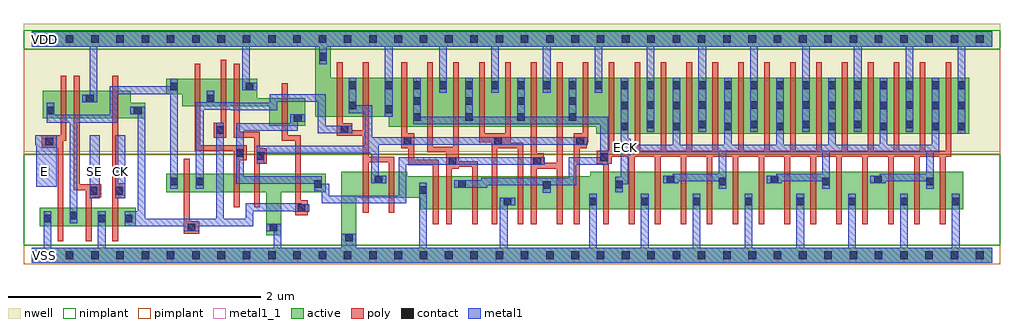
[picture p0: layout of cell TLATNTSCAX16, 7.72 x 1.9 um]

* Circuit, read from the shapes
.subckt TLATNTSCAX16 CK E ECK SE VDD VSS
M1 n1 E VSS VSS nfet w=0.145u l=0.045u
M2 VSS SE n1 VSS nfet w=0.145u l=0.045u
M3 n2 CK VSS VSS nfet w=0.145u l=0.045u
M4 n3 n2 n1 VSS nfet w=0.145u l=0.045u
M5 n4 n5 n3 VSS nfet w=0.145u l=0.045u
M6 VSS n6 n4 VSS nfet w=0.145u l=0.045u
M7 n5 n2 VSS VSS nfet w=0.145u l=0.045u
M8 n6 n3 VSS VSS nfet w=0.205u l=0.045u m=2
M9 n7 n6 VSS VSS nfet w=0.26u l=0.045u
M10 n8 n5 n7 VSS nfet w=0.26u l=0.045u
M11 n9 n5 n8 VSS nfet w=0.26u l=0.045u
M12 VSS n6 n9 VSS nfet w=0.26u l=0.045u
M13 n10 n6 VSS VSS nfet w=0.26u l=0.045u
M14 n8 n5 n10 VSS nfet w=0.26u l=0.045u
M15 n11 n5 n8 VSS nfet w=0.26u l=0.045u
M16 VSS n6 n11 VSS nfet w=0.26u l=0.045u
M17 ECK n8 VSS VSS nfet w=0.295u l=0.045u m=14
M18 n12 E n1 VDD pfet w=0.215u l=0.045u
M19 VDD SE n12 VDD pfet w=0.215u l=0.045u
M20 n2 CK VDD VDD pfet w=0.215u l=0.045u
M21 n3 n5 n1 VDD pfet w=0.215u l=0.045u
M22 n13 n2 n3 VDD pfet w=0.215u l=0.045u
M23 VDD n6 n13 VDD pfet w=0.215u l=0.045u
M24 n5 n2 VDD VDD pfet w=0.215u l=0.045u
M25 n6 n3 VDD VDD pfet w=0.31u l=0.045u m=2
M26 n8 n6 VDD VDD pfet w=0.39u l=0.045u m=4
M27 VDD n5 n8 VDD pfet w=0.39u l=0.045u m=4
M28 ECK n8 VDD VDD pfet w=0.445u l=0.045u m=14
.ends

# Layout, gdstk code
import gdstk
lib = gdstk.Library(unit=1e-6, precision=5e-10)
def R(c, l, rs):  # rectangles x0, y0, x1, y1
    for r in rs: c.add(gdstk.rectangle(r[:2], r[2:], *l))
def A(c, l, x, y, w, h, nx, ny, dx, dy):  # array of equal rectangles
    R(c, l, [(x+i*dx, y+j*dy, x+i*dx+w, y+j*dy+h) for i in range(nx) for j in range(ny)])
def P(c, l, *ps):  # polygons
    for p in ps: c.add(gdstk.Polygon(p, *l))
active = (1, 0)
nwell = (2, 0)
poly = (3, 0)
nimplant = (4, 0)
pimplant = (5, 0)
contact = (6, 0)
metal1 = (7, 0)
metal1_1 = (7, 1)

tlatntscax16 = lib.new_cell('TLATNTSCAX16')
R(tlatntscax16, active, [(0.065,0.23,0.825,0.375)])
P(tlatntscax16, active, [(0,1.77),(7.6,1.77),(7.6,1.65),(2.365,1.65),(2.365,1.405),(7.415,1.405),(7.415,0.96),(4.465,0.96),(4.465,1.015),(2.825,1.015),(2.825,1.095),(2.245,1.095),(2.245,1.65),(0,1.65)],
  [(1.065,1.395),(1.785,1.395),(1.785,1.24),(2.165,1.24),(2.165,1.025),(1.88,1.025),(1.88,1.18),(1.19,1.18),(1.19,1.275),(1.065,1.275)],
  [(0.09,1.3),(0.785,1.3),(0.785,1.205),(0.9,1.205),(0.9,1.085),(0.09,1.085)],
  [(1.065,0.645),(2.325,0.645),(2.325,0.5),(1.975,0.5),(1.975,0.16),(1.855,0.16),(1.855,0.5),(1.065,0.5)],
  [(2.45,0.66),(2.97,0.66),(2.97,0.625),(4.42,0.625),(4.42,0.66),(7.37,0.66),(7.37,0.365),(3.075,0.365),(3.075,0.455),(2.57,0.455),(2.57,0.06),(7.6,0.06),(7.6,-0.06),(0,-0.06),(0,0.06),(2.45,0.06)])
R(tlatntscax16, nwell, [(-0.06,0.82,7.66,1.83)])
P(tlatntscax16, poly, [(1.29,1.515),(1.335,1.515),(1.335,0.87),(1.7,0.87),(1.7,0.75),(1.645,0.75),(1.645,0.38),(1.6,0.38),(1.6,0.825),(1.29,0.825)],
  [(1.495,1.545),(1.54,1.545),(1.54,0.93),(1.44,0.93),(1.44,1.05),(1.495,1.05)],
  [(1.6,1.515),(1.645,1.515),(1.645,0.975),(1.805,0.975),(1.805,0.845),(1.86,0.845),(1.86,0.725),(1.805,0.725),(1.805,0.38),(1.76,0.38),(1.76,0.93),(1.6,0.93)],
  [(0.23,1.42),(0.275,1.42),(0.275,0.905),(0.25,0.905),(0.25,0.11),(0.205,0.11),(0.205,0.85),(0.08,0.85),(0.08,0.95),(0.23,0.95)],
  [(0.335,1.42),(0.38,1.42),(0.38,0.56),(0.55,0.56),(0.55,0.46),(0.475,0.46),(0.475,0.11),(0.43,0.11),(0.43,0.515),(0.335,0.515)],
  [(0.64,1.42),(0.685,1.42),(0.685,0.57),(0.74,0.57),(0.74,0.45),(0.685,0.45),(0.685,0.11),(0.64,0.11)],
  [(1.98,1.36),(2.025,1.36),(2.025,0.95),(2.13,0.95),(2.13,0.435),(2.185,0.435),(2.185,0.315),(2.085,0.315),(2.085,0.905),(1.98,0.905)],
  [(2.415,1.525),(2.46,1.525),(2.46,1.045),(2.535,1.045),(2.535,0.99),(2.62,0.99),(2.62,1.525),(2.665,1.525),(2.665,0.78),(2.87,0.78),(2.87,0.335),(2.825,0.335),(2.825,0.735),(2.665,0.735),(2.665,0.335),(2.62,0.335),(2.62,0.945),(2.415,0.945)],
  [(2.925,1.525),(2.97,1.525),(2.97,0.965),(3.025,0.965),(3.025,0.755),(3.22,0.755),(3.22,0.245),(3.175,0.245),(3.175,0.71),(2.98,0.71),(2.98,0.845),(2.925,0.845)],
  [(3.13,1.525),(3.175,1.525),(3.175,0.86),(3.335,0.86),(3.335,1.525),(3.38,1.525),(3.38,0.745),(3.53,0.745),(3.53,0.245),(3.485,0.245),(3.485,0.7),(3.38,0.7),(3.38,0.685),(3.325,0.685),(3.325,0.245),(3.28,0.245),(3.28,0.815),(3.13,0.815)],
  [(3.54,1.525),(3.585,1.525),(3.585,0.965),(3.745,0.965),(3.745,1.525),(3.79,1.525),(3.79,0.89),(3.89,0.89),(3.89,0.245),(3.845,0.245),(3.845,0.845),(3.685,0.845),(3.685,0.245),(3.64,0.245),(3.64,0.895),(3.54,0.895)],
  [(3.95,1.525),(3.995,1.525),(3.995,0.805),(4.05,0.805),(4.05,0.73),(4.155,0.73),(4.155,1.525),(4.2,1.525),(4.2,0.245),(4.155,0.245),(4.155,0.685),(3.995,0.685),(3.995,0.245),(3.95,0.245)],
  [(4.36,1.525),(4.405,1.525),(4.405,0.895),(4.39,0.895),(4.39,0.845),(4.335,0.845),(4.335,0.245),(4.29,0.245),(4.29,0.965),(4.36,0.965)],
  [(4.565,1.525),(4.61,1.525),(4.61,0.825),(4.77,0.825),(4.77,1.525),(4.815,1.525),(4.815,0.825),(4.975,0.825),(4.975,1.525),(5.02,1.525),(5.02,0.825),(5.18,0.825),(5.18,1.525),(5.225,1.525),(5.225,0.825),(5.385,0.825),(5.385,1.525),(5.43,1.525),(5.43,0.825),(5.59,0.825),(5.59,1.525),(5.635,1.525),(5.635,0.825),(5.795,0.825),(5.795,1.525),(5.84,1.525),(5.84,0.825),(6,0.825),(6,1.525),(6.045,1.525),(6.045,0.825),(6.205,0.825),(6.205,1.525),(6.25,1.525),(6.25,0.825),(6.41,0.825),(6.41,1.525),(6.455,1.525),(6.455,0.825),(6.615,0.825),(6.615,1.525),(6.66,1.525),(6.66,0.825),(6.82,0.825),(6.82,1.525),(6.865,1.525),(6.865,0.825),(7.025,0.825),(7.025,1.525),(7.07,1.525),(7.07,0.825),(7.23,0.825),(7.23,1.525),(7.275,1.525),(7.275,0.78),(7.23,0.78),(7.23,0.245),(7.185,0.245),(7.185,0.78),(7.025,0.78),(7.025,0.245),(6.98,0.245),(6.98,0.78),(6.82,0.78),(6.82,0.245),(6.775,0.245),(6.775,0.78),(6.615,0.78),(6.615,0.245),(6.57,0.245),(6.57,0.78),(6.41,0.78),(6.41,0.245),(6.365,0.245),(6.365,0.78),(6.205,0.78),(6.205,0.245),(6.16,0.245),(6.16,0.78),(6,0.78),(6,0.245),(5.955,0.245),(5.955,0.78),(5.795,0.78),(5.795,0.245),(5.75,0.245),(5.75,0.78),(5.59,0.78),(5.59,0.245),(5.545,0.245),(5.545,0.78),(5.385,0.78),(5.385,0.245),(5.34,0.245),(5.34,0.78),(5.18,0.78),(5.18,0.245),(5.135,0.245),(5.135,0.78),(4.975,0.78),(4.975,0.245),(4.93,0.245),(4.93,0.78),(4.77,0.78),(4.77,0.245),(4.725,0.245),(4.725,0.78),(4.59,0.78),(4.59,0.725),(4.565,0.725),(4.565,0.245),(4.52,0.245),(4.52,0.725),(4.47,0.725),(4.47,0.825),(4.565,0.825)],
  [(1.205,0.765),(1.25,0.765),(1.25,0.27),(1.325,0.27),(1.325,0.17),(1.205,0.17)])
R(tlatntscax16, nimplant, [(-0.06,0.08,7.66,0.8), (-0.06,1.63,7.66,1.78)])
R(tlatntscax16, pimplant, [(-0.06,-0.07,7.66,0.08), (-0.06,0.8,7.66,1.63)])
A(tlatntscax16, contact, 0.07, -0.03, 0.06, 0.06, 38, 2, 0.2, 1.71)
A(tlatntscax16, contact, 4.41, 0.395, 0.06, 0.06, 8, 1, 0.41, 0)
A(tlatntscax16, contact, 5.435, 0.555, 0.06, 0.06, 3, 1, 0.82, 0)
A(tlatntscax16, contact, 5.025, 0.57, 0.06, 0.06, 3, 1, 0.82, 0)
A(tlatntscax16, contact, 4.66, 0.99, 0.06, 0.06, 7, 2, 0.41, 0.165)
A(tlatntscax16, contact, 4.865, 1.005, 0.06, 0.06, 6, 2, 0.41, 0.155)
A(tlatntscax16, contact, 3.02, 1.065, 0.06, 0.06, 4, 2, 0.41, 0.125)
A(tlatntscax16, contact, 3.02, 1.315, 0.06, 0.06, 22, 1, 0.205, 0)
R(tlatntscax16, contact, [(2.48,0.11,2.54,0.17), (1.235,0.19,1.295,0.25), (1.885,0.19,1.945,0.25), (0.095,0.26,0.155,0.32), (0.525,0.26,0.585,0.32), (0.735,0.26,0.795,0.32), (0.3,0.285,0.36,0.345), (2.105,0.345,2.165,0.405), (3.735,0.395,3.795,0.455), (0.46,0.48,0.52,0.54), (0.66,0.48,0.72,0.54), (3.065,0.485,3.125,0.545), (4.045,0.525,4.105,0.585), (4.615,0.53,4.675,0.59), (2.235,0.535,2.295,0.595), (3.375,0.535,3.435,0.595), (1.095,0.555,1.155,0.615), (1.3,0.555,1.36,0.615), (2.715,0.57,2.775,0.63), (3.3,0.715,3.36,0.775), (3.97,0.715,4.03,0.775), (4.5,0.745,4.56,0.805), (1.78,0.755,1.84,0.815), (1.62,0.78,1.68,0.84), (0.11,0.87,0.17,0.93), (2.945,0.875,3.005,0.935), (3.66,0.875,3.72,0.935), (4.31,0.875,4.37,0.935), (1.46,0.96,1.52,1.02), (2.445,0.965,2.505,1.025), (7.325,0.99,7.385,1.05), (2.075,1.055,2.135,1.115), (0.12,1.115,0.18,1.175), (0.81,1.115,0.87,1.175), (2.795,1.125,2.855,1.185), (2.51,1.155,2.57,1.215), (7.325,1.155,7.385,1.215), (0.43,1.21,0.49,1.27), (1.385,1.21,1.445,1.27), (1.095,1.305,1.155,1.365), (1.695,1.305,1.755,1.365), (2.51,1.315,2.57,1.375), (2.795,1.315,2.855,1.375), (2.275,1.54,2.335,1.6)])
R(tlatntscax16, metal1, [(0.46,0.45,0.54,0.95), (0.66,0.45,0.74,0.95)])
P(tlatntscax16, metal1, [(0,1.77),(7.6,1.77),(7.6,1.65),(7.385,1.65),(7.385,0.96),(7.325,0.96),(7.325,1.65),(6.975,1.65),(6.975,0.975),(6.915,0.975),(6.915,1.65),(6.565,1.65),(6.565,0.975),(6.505,0.975),(6.505,1.65),(6.155,1.65),(6.155,0.975),(6.095,0.975),(6.095,1.65),(5.745,1.65),(5.745,0.975),(5.685,0.975),(5.685,1.65),(5.335,1.65),(5.335,0.975),(5.275,0.975),(5.275,1.65),(4.925,1.65),(4.925,0.975),(4.865,0.975),(4.865,1.65),(4.515,1.65),(4.515,1.285),(4.455,1.285),(4.455,1.65),(4.105,1.65),(4.105,1.285),(4.045,1.285),(4.045,1.65),(3.695,1.65),(3.695,1.285),(3.635,1.285),(3.635,1.65),(3.285,1.65),(3.285,1.285),(3.225,1.285),(3.225,1.65),(2.855,1.65),(2.855,1.095),(2.795,1.095),(2.795,1.65),(2.335,1.65),(2.335,1.51),(2.275,1.51),(2.275,1.65),(1.725,1.65),(1.725,1.365),(1.785,1.365),(1.785,1.305),(1.665,1.305),(1.665,1.65),(0.52,1.65),(0.52,1.21),(0.4,1.21),(0.4,1.27),(0.46,1.27),(0.46,1.65),(0,1.65)],
  [(2.51,1.405),(2.57,1.405),(2.57,1.185),(2.695,1.185),(2.695,0.935),(4.4,0.935),(4.4,0.875),(2.745,0.875),(2.745,0.63),(2.805,0.63),(2.805,0.57),(2.685,0.57),(2.685,0.805),(1.84,0.805),(1.84,0.725),(1.78,0.725),(1.78,0.865),(2.635,0.865),(2.635,1.125),(2.51,1.125)],
  [(1.095,1.395),(1.155,1.395),(1.155,0.525),(1.095,0.525),(1.095,1.275),(0.68,1.275),(0.68,1.05),(0.36,1.05),(0.36,0.255),(0.3,0.255),(0.3,1.05),(0.12,1.05),(0.12,1.205),(0.18,1.205),(0.18,1.11),(0.62,1.11),(0.62,1.335),(1.095,1.335)],
  [(1.385,1.3),(1.445,1.3),(1.445,1.21),(1.61,1.21),(1.61,1.205),(1.885,1.205),(1.885,1.275),(2.325,1.275),(2.325,1.025),(2.535,1.025),(2.535,0.965),(2.265,0.965),(2.265,1.215),(1.945,1.215),(1.945,1.145),(1.575,1.145),(1.575,1.15),(1.36,1.15),(1.36,0.525),(1.3,0.525),(1.3,1.21),(1.385,1.21)],
  [(0.78,1.175),(0.9,1.175),(0.9,0.29),(1.46,0.29),(1.46,1.05),(1.52,1.05),(1.52,0.29),(1.695,0.29),(1.695,0.41),(2.135,0.41),(2.135,0.405),(2.195,0.405),(2.195,0.345),(2.075,0.345),(2.075,0.35),(1.755,0.35),(1.755,0.23),(1.325,0.23),(1.325,0.19),(1.205,0.19),(1.205,0.23),(0.735,0.23),(0.735,0.35),(0.84,0.35),(0.84,1.115),(0.78,1.115)],
  [(0.03,0.95),(0.2,0.95),(0.2,0.54),(0.035,0.54),(0.035,0.87),(0.03,0.87)],
  [(0.095,0.35),(0.155,0.35),(0.155,0.06),(0.525,0.06),(0.525,0.35),(0.585,0.35),(0.585,0.06),(1.915,0.06),(1.915,0.19),(1.855,0.19),(1.855,0.25),(1.975,0.25),(1.975,0.06),(2.45,0.06),(2.45,0.17),(2.57,0.17),(2.57,0.06),(3.065,0.06),(3.065,0.575),(3.125,0.575),(3.125,0.06),(3.705,0.06),(3.705,0.455),(3.825,0.455),(3.825,0.395),(3.765,0.395),(3.765,0.06),(4.41,0.06),(4.41,0.485),(4.47,0.485),(4.47,0.06),(4.82,0.06),(4.82,0.485),(4.88,0.485),(4.88,0.06),(5.23,0.06),(5.23,0.485),(5.29,0.485),(5.29,0.06),(5.64,0.06),(5.64,0.485),(5.7,0.485),(5.7,0.06),(6.05,0.06),(6.05,0.485),(6.11,0.485),(6.11,0.06),(6.46,0.06),(6.46,0.485),(6.52,0.485),(6.52,0.06),(6.87,0.06),(6.87,0.485),(6.93,0.485),(6.93,0.06),(7.28,0.06),(7.28,0.485),(7.34,0.485),(7.34,0.06),(7.6,0.06),(7.6,-0.06),(0,-0.06),(0,0.06),(0.095,0.06)],
  [(2.045,1.115),(2.165,1.115),(2.165,1.055),(2.105,1.055),(2.105,0.985),(1.68,0.985),(1.68,0.625),(2.295,0.625),(2.295,0.565),(2.355,0.565),(2.355,0.47),(2.905,0.47),(2.905,0.775),(4.06,0.775),(4.06,0.715),(2.965,0.715),(2.965,0.41),(2.295,0.41),(2.295,0.505),(2.235,0.505),(2.235,0.565),(1.62,0.565),(1.62,1.045),(2.045,1.045)],
  [(3.02,1.405),(3.08,1.405),(3.08,1.095),(3.43,1.095),(3.43,1.405),(3.49,1.405),(3.49,1.095),(3.84,1.095),(3.84,1.405),(3.9,1.405),(3.9,1.095),(4.25,1.095),(4.25,1.405),(4.31,1.405),(4.31,1.095),(4.56,1.095),(4.56,0.715),(4.31,0.715),(4.31,0.555),(4.105,0.555),(4.105,0.495),(4.045,0.495),(4.045,0.555),(3.605,0.555),(3.605,0.535),(3.345,0.535),(3.345,0.595),(3.555,0.595),(3.555,0.615),(4.25,0.615),(4.25,0.775),(4.5,0.775),(4.5,1.035),(3.02,1.035)],
  [(4.66,1.405),(4.72,1.405),(4.72,0.92),(4.74,0.92),(4.74,0.875),(5.07,0.875),(5.07,1.405),(5.13,1.405),(5.13,0.875),(5.48,0.875),(5.48,1.405),(5.54,1.405),(5.54,0.875),(5.89,0.875),(5.89,1.405),(5.95,1.405),(5.95,0.875),(6.3,0.875),(6.3,1.405),(6.36,1.405),(6.36,0.875),(6.71,0.875),(6.71,1.405),(6.77,1.405),(6.77,0.875),(7.12,0.875),(7.12,1.405),(7.18,1.405),(7.18,0.815),(7.135,0.815),(7.135,0.525),(7.075,0.525),(7.075,0.585),(6.755,0.585),(6.755,0.57),(6.635,0.57),(6.635,0.63),(6.71,0.63),(6.71,0.645),(7.075,0.645),(7.075,0.815),(6.315,0.815),(6.315,0.525),(6.255,0.525),(6.255,0.585),(5.935,0.585),(5.935,0.57),(5.815,0.57),(5.815,0.63),(5.89,0.63),(5.89,0.645),(6.255,0.645),(6.255,0.815),(5.495,0.815),(5.495,0.525),(5.435,0.525),(5.435,0.585),(5.115,0.585),(5.115,0.57),(4.995,0.57),(4.995,0.63),(5.07,0.63),(5.07,0.645),(5.435,0.645),(5.435,0.815),(4.74,0.815),(4.74,0.79),(4.72,0.79),(4.72,0.56),(4.675,0.56),(4.675,0.5),(4.615,0.5),(4.615,0.62),(4.66,0.62)])
R(tlatntscax16, metal1_1, [(0.06,-0.04,0.14,0.04), (0.06,0.625,0.14,0.705), (0.46,0.625,0.54,0.705), (0.66,0.625,0.74,0.705), (4.66,0.815,4.74,0.895), (0.06,1.67,0.14,1.75)])
tlatntscax16.add(gdstk.Label('ECK', (4.7,0.855), layer=7, texttype=1))
tlatntscax16.add(gdstk.Label('CK', (0.7,0.665), layer=7, texttype=1))
tlatntscax16.add(gdstk.Label('SE', (0.5,0.665), layer=7, texttype=1))
tlatntscax16.add(gdstk.Label('E', (0.1,0.665), layer=7, texttype=1))
tlatntscax16.add(gdstk.Label('VDD', (0.1,1.71), layer=7, texttype=1))
tlatntscax16.add(gdstk.Label('VSS', (0.1,0), layer=7, texttype=1))
tlatntscax16.add(gdstk.Label('TLATNTSCAX16', (0,0), layer=63, texttype=0))

lib.write_gds('TLATNTSCAX16.gds')
